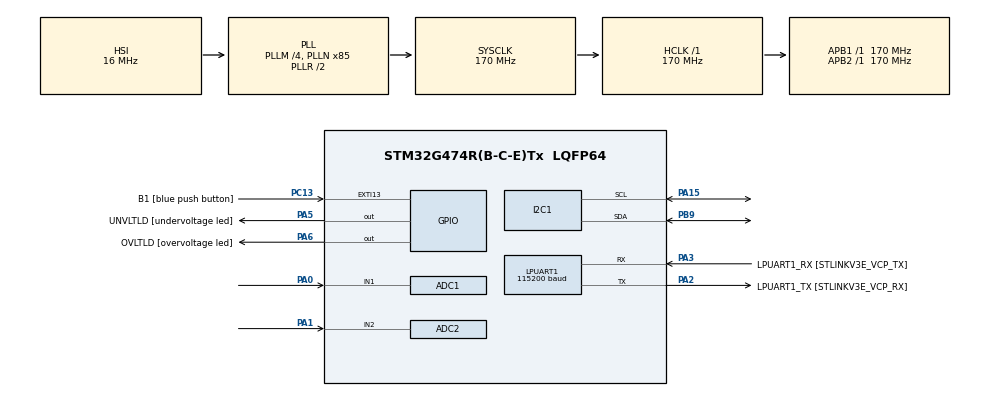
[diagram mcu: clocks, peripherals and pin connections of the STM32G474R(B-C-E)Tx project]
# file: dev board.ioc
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ADC1.Channel-0\#ChannelRegularConversion=ADC_CHANNEL_1
ADC1.NbrOfConversionFlag=1
ADC1.OffsetNumber-0\#ChannelRegularConversion=ADC_OFFSET_NONE
ADC1.Rank-0\#ChannelRegularConversion=1
ADC1.SamplingTime-0\#ChannelRegularConversion=ADC_SAMPLETIME_2CYCLES_5
ADC1.master=1
ADC2.Channel-0\#ChannelRegularConversion=ADC_CHANNEL_2
ADC2.NbrOfConversionFlag=1
ADC2.OffsetNumber-0\#ChannelRegularConversion=ADC_OFFSET_NONE
ADC2.Rank-0\#ChannelRegularConversion=1
ADC2.SamplingTime-0\#ChannelRegularConversion=ADC_SAMPLETIME_2CYCLES_5
I2C1.Timing=0x30A0A7FB
LPUART1.BaudRate=115200
LPUART1.WordLength=UART_WORDLENGTH_8B
Mcu.Family=STM32G4
Mcu.Name=STM32G474R(B-C-E)Tx
Mcu.Package=LQFP64
NVIC.EXTI15_10_IRQn=true\:0\:0\:false\:false\:true\:true\:true\:true
NVIC.PriorityGroup=NVIC_PRIORITYGROUP_4
NVIC.TIM3_IRQn=true\:0\:0\:false\:false\:true\:true\:true\:true
PA0.Mode=IN1-Single-Ended
PA0.Signal=ADC1_IN1
PA1.Mode=IN2-Single-Ended
PA1.Signal=ADC2_IN2
PA13.GPIO_Label=T_SWDIO
PA13.Mode=Serial_Wire
PA13.Signal=SYS_JTMS-SWDIO
PA14.GPIO_Label=T_SWCLK
PA14.Mode=Serial_Wire
PA14.Signal=SYS_JTCK-SWCLK
PA15.Mode=I2C
PA15.Signal=I2C1_SCL
PA2.GPIO_Label=LPUART1_TX [STLINKV3E_VCP_RX]
PA2.Mode=Asynchronous
PA2.Signal=LPUART1_TX
PA3.GPIO_Label=LPUART1_RX [STLINKV3E_VCP_TX]
PA3.Mode=Asynchronous
PA3.Signal=LPUART1_RX
PA5.GPIO_Label=UNVLTLD [undervoltage led]
PA5.Signal=GPIO_Output
PA6.GPIO_Label=OVLTLD [overvoltage led]
PA6.Signal=GPIO_Output
PB3.GPIO_Label=T_SWO
PB3.Signal=SYS_JTDO-SWO
PB9.Mode=I2C
PB9.Signal=I2C1_SDA
PC13.GPIO_Label=B1 [blue push button]
PC13.Signal=GPXTI13
PC14-OSC32_IN.Mode=LSE-External-Oscillator
PC14-OSC32_IN.Signal=RCC_OSC32_IN
PC15-OSC32_OUT.Mode=LSE-External-Oscillator
PC15-OSC32_OUT.Signal=RCC_OSC32_OUT
PF0-OSC_IN.Mode=HSE-External-Oscillator
PF0-OSC_IN.Signal=RCC_OSC_IN
PF1-OSC_OUT.Mode=HSE-External-Oscillator
PF1-OSC_OUT.Signal=RCC_OSC_OUT
ProjectManager.HeapSize=0x200
ProjectManager.StackSize=0x400
ProjectManager.TargetToolchain=Makefile
RCC.ADC12Freq_Value=170000000
RCC.ADC345Freq_Value=170000000
RCC.AHBFreq_Value=170000000
RCC.APB1Freq_Value=170000000
RCC.APB1TimFreq_Value=170000000
RCC.APB2Freq_Value=170000000
RCC.APB2TimFreq_Value=170000000
RCC.CortexFreq_Value=170000000
RCC.EXTERNAL_CLOCK_VALUE=12288000
RCC.HCLKFreq_Value=170000000
RCC.HSE_VALUE=24000000
RCC.HSI48_VALUE=48000000
RCC.HSI_VALUE=16000000
RCC.PLLM=RCC_PLLM_DIV4
RCC.PLLN=85
RCC.RTCClockSelection=RCC_RTCCLKSOURCE_LSE
RCC.SYSCLKFreq_VALUE=170000000
RCC.SYSCLKSource=RCC_SYSCLKSOURCE_PLLCLK
RCC.USBFreq_Value=170000000
RCC.VCOOutputFreq_Value=340000000
TIM3.PeriodNoDither=1000 - 1
TIM3.Prescaler=170 - 1
VP_SYS_VS_DBSignals.Mode=DisableDeadBatterySignals
VP_TIM3_VS_ClockSourceINT.Mode=Internal
board=NUCLEO-G474RE

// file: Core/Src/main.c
/* USER CODE BEGIN Header */
/**
  ******************************************************************************
  * @file           : main.c
  * @brief          : Main program body
  ******************************************************************************
  * @attention
  *
  * Copyright (c) 2022 STMicroelectronics.
  * All rights reserved.
  *
  * This software is licensed under terms that can be found in the LICENSE file
  * in the root directory of this software component.
  * If no LICENSE file comes with this software, it is provided AS-IS.
  *
  ******************************************************************************
  */
/* USER CODE END Header */
#include "main.h"

/* USER CODE BEGIN Includes */
#include "stdio.h"
/* USER CODE END Includes */

ADC_HandleTypeDef hadc1;
ADC_HandleTypeDef hadc2;

I2C_HandleTypeDef hi2c1;

UART_HandleTypeDef hlpuart1;

TIM_HandleTypeDef htim3;

/* USER CODE BEGIN PV */
uint16_t vTime;
uint16_t sTime;
uint16_t sensorReadTime = 200;
uint16_t voltageReadTime = 350;
uint8_t sensorTimerElapsed = 0;
uint8_t voltageTimerElapsed = 0;

enum state {INIT = 0U, RUNNING, DANGER, WAITING};
enum state state = INIT;
/* USER CODE END PV */

void SystemClock_Config(void);
static void MX_GPIO_Init(void);
static void MX_ADC1_Init(void);
static void MX_LPUART1_UART_Init(void);
static void MX_TIM3_Init(void);
static void MX_I2C1_Init(void);
static void MX_ADC2_Init(void);
/* USER CODE BEGIN PFP */

void startTimers(void);
void resetLeds(void);
void uartPrint(char *string);
void checkVltg(void);
/* USER CODE END PFP */

int main(void)
{

  /* MCU Configuration--------------------------------------------------------*/

  /* Reset of all peripherals, Initializes the Flash interface and the Systick. */
  HAL_Init();

  /* USER CODE BEGIN Init */
  char buffer[40];
  /* USER CODE END Init */

  /* Configure the system clock */
  SystemClock_Config();

  /* Initialize all configured peripherals */
  MX_GPIO_Init();
  MX_ADC1_Init();
  MX_LPUART1_UART_Init();
  MX_TIM3_Init();
  MX_I2C1_Init();
  MX_ADC2_Init();

  /* Infinite loop */
  /* USER CODE BEGIN WHILE */
  HAL_UART_Transmit(&hlpuart1, "\r\n", sizeof("\r\n"), 100);
  while (1)
  {
    switch (state)
    {
    case INIT:
      vTime = 0;
      sTime = 0;
      initUart(&hlpuart1);
      initSysVlt(&hadc1);
      initSensor(&hadc2);
      HAL_TIM_Base_Start_IT(&htim3);
      state = RUNNING;
      break;

    case DANGER:
      if(sysVoltage.voltage > sysVoltage.upperThld)
      {
        HAL_GPIO_WritePin(OVLTLD_GPIO_Port,OVLTLD_Pin, GPIO_PIN_SET);
        HAL_GPIO_WritePin(UNVLTLD_GPIO_Port, UNVLTLD_Pin, GPIO_PIN_RESET);
      }
      else
      {
        HAL_GPIO_WritePin(UNVLTLD_GPIO_Port, UNVLTLD_Pin, GPIO_PIN_SET);
        HAL_GPIO_WritePin(OVLTLD_GPIO_Port,OVLTLD_Pin, GPIO_PIN_RESET);
      }
    case RUNNING:
      if(sensorTimerElapsed == 1)
      {
        sensorTimerElapsed = 0;
        readLight();
        sprintf(buffer, "(%lu) Sensor light percentage: %d\n\r", HAL_GetTick() / 10, sensorLight);
        //HAL_UART_Transmit(&hlpuart1, buffer, 27, 10);
        uartPrint(buffer);
      }

      if(voltageTimerElapsed == 1)
      {
        voltageTimerElapsed = 0;
        readSysVlt();
        sprintf(buffer, "(%lu) Sys volt time:\n\r", HAL_GetTick() / 10);
        uartPrint(buffer);
        checkVltg();
      }
      break;

    case WAITING:
        resetLeds();
        uartPrint("Board in waiting state - please press the emergency button\n\r");
        HAL_Delay(500);
      break;

    default:
      break;
    }
    /* USER CODE END WHILE */

  }
}

void SystemClock_Config(void)
{
  RCC_OscInitTypeDef RCC_OscInitStruct = {0};
  RCC_ClkInitTypeDef RCC_ClkInitStruct = {0};

  /** Configure the main internal regulator output voltage
  */
  HAL_PWREx_ControlVoltageScaling(PWR_REGULATOR_VOLTAGE_SCALE1_BOOST);

  /** Initializes the RCC Oscillators according to the specified parameters
  * in the RCC_OscInitTypeDef structure.
  */
  RCC_OscInitStruct.OscillatorType = RCC_OSCILLATORTYPE_HSI;
  RCC_OscInitStruct.HSIState = RCC_HSI_ON;
  RCC_OscInitStruct.HSICalibrationValue = RCC_HSICALIBRATION_DEFAULT;
  RCC_OscInitStruct.PLL.PLLState = RCC_PLL_ON;
  RCC_OscInitStruct.PLL.PLLSource = RCC_PLLSOURCE_HSI;
  RCC_OscInitStruct.PLL.PLLM = RCC_PLLM_DIV4;
  RCC_OscInitStruct.PLL.PLLN = 85;
  RCC_OscInitStruct.PLL.PLLP = RCC_PLLP_DIV2;
  RCC_OscInitStruct.PLL.PLLQ = RCC_PLLQ_DIV2;
  RCC_OscInitStruct.PLL.PLLR = RCC_PLLR_DIV2;
  if (HAL_RCC_OscConfig(&RCC_OscInitStruct) != HAL_OK)
  {
    Error_Handler();
  }

  /** Initializes the CPU, AHB and APB buses clocks
  */
  RCC_ClkInitStruct.ClockType = RCC_CLOCKTYPE_HCLK|RCC_CLOCKTYPE_SYSCLK
                              |RCC_CLOCKTYPE_PCLK1|RCC_CLOCKTYPE_PCLK2;
  RCC_ClkInitStruct.SYSCLKSource = RCC_SYSCLKSOURCE_PLLCLK;
  RCC_ClkInitStruct.AHBCLKDivider = RCC_SYSCLK_DIV1;
  RCC_ClkInitStruct.APB1CLKDivider = RCC_HCLK_DIV1;
  RCC_ClkInitStruct.APB2CLKDivider = RCC_HCLK_DIV1;

  if (HAL_RCC_ClockConfig(&RCC_ClkInitStruct, FLASH_LATENCY_4) != HAL_OK)
  {
    Error_Handler();
  }
}

static void MX_ADC1_Init(void)
{

  ADC_MultiModeTypeDef multimode = {0};
  ADC_ChannelConfTypeDef sConfig = {0};

  /** Common config
  */
  hadc1.Instance = ADC1;
  hadc1.Init.ClockPrescaler = ADC_CLOCK_SYNC_PCLK_DIV4;
  hadc1.Init.Resolution = ADC_RESOLUTION_12B;
  hadc1.Init.DataAlign = ADC_DATAALIGN_RIGHT;
  hadc1.Init.GainCompensation = 0;
  hadc1.Init.ScanConvMode = ADC_SCAN_DISABLE;
  hadc1.Init.EOCSelection = ADC_EOC_SINGLE_CONV;
  hadc1.Init.LowPowerAutoWait = DISABLE;
  hadc1.Init.ContinuousConvMode = DISABLE;
  hadc1.Init.NbrOfConversion = 1;
  hadc1.Init.DiscontinuousConvMode = DISABLE;
  hadc1.Init.ExternalTrigConv = ADC_SOFTWARE_START;
  hadc1.Init.ExternalTrigConvEdge = ADC_EXTERNALTRIGCONVEDGE_NONE;
  hadc1.Init.DMAContinuousRequests = DISABLE;
  hadc1.Init.Overrun = ADC_OVR_DATA_PRESERVED;
  hadc1.Init.OversamplingMode = DISABLE;
  if (HAL_ADC_Init(&hadc1) != HAL_OK)
  {
    Error_Handler();
  }

  /** Configure the ADC multi-mode
  */
  multimode.Mode = ADC_MODE_INDEPENDENT;
  if (HAL_ADCEx_MultiModeConfigChannel(&hadc1, &multimode) != HAL_OK)
  {
    Error_Handler();
  }

  /** Configure Regular Channel
  */
  sConfig.Channel = ADC_CHANNEL_1;
  sConfig.Rank = ADC_REGULAR_RANK_1;
  sConfig.SamplingTime = ADC_SAMPLETIME_2CYCLES_5;
  sConfig.SingleDiff = ADC_SINGLE_ENDED;
  sConfig.OffsetNumber = ADC_OFFSET_NONE;
  sConfig.Offset = 0;
  if (HAL_ADC_ConfigChannel(&hadc1, &sConfig) != HAL_OK)
  {
    Error_Handler();
  }

}

static void MX_ADC2_Init(void)
{

  ADC_ChannelConfTypeDef sConfig = {0};

  /** Common config
  */
  hadc2.Instance = ADC2;
  hadc2.Init.ClockPrescaler = ADC_CLOCK_SYNC_PCLK_DIV4;
  hadc2.Init.Resolution = ADC_RESOLUTION_12B;
  hadc2.Init.DataAlign = ADC_DATAALIGN_RIGHT;
  hadc2.Init.GainCompensation = 0;
  hadc2.Init.ScanConvMode = ADC_SCAN_DISABLE;
  hadc2.Init.EOCSelection = ADC_EOC_SINGLE_CONV;
  hadc2.Init.LowPowerAutoWait = DISABLE;
  hadc2.Init.ContinuousConvMode = DISABLE;
  hadc2.Init.NbrOfConversion = 1;
  hadc2.Init.DiscontinuousConvMode = DISABLE;
  hadc2.Init.ExternalTrigConv = ADC_SOFTWARE_START;
  hadc2.Init.ExternalTrigConvEdge = ADC_EXTERNALTRIGCONVEDGE_NONE;
  hadc2.Init.DMAContinuousRequests = DISABLE;
  hadc2.Init.Overrun = ADC_OVR_DATA_PRESERVED;
  hadc2.Init.OversamplingMode = DISABLE;
  if (HAL_ADC_Init(&hadc2) != HAL_OK)
  {
    Error_Handler();
  }

  /** Configure Regular Channel
  */
  sConfig.Channel = ADC_CHANNEL_2;
  sConfig.Rank = ADC_REGULAR_RANK_1;
  sConfig.SamplingTime = ADC_SAMPLETIME_2CYCLES_5;
  sConfig.SingleDiff = ADC_SINGLE_ENDED;
  sConfig.OffsetNumber = ADC_OFFSET_NONE;
  sConfig.Offset = 0;
  if (HAL_ADC_ConfigChannel(&hadc2, &sConfig) != HAL_OK)
  {
    Error_Handler();
  }

}

static void MX_I2C1_Init(void)
{

  hi2c1.Instance = I2C1;
  hi2c1.Init.Timing = 0x30A0A7FB;
  hi2c1.Init.OwnAddress1 = 0;
  hi2c1.Init.AddressingMode = I2C_ADDRESSINGMODE_7BIT;
  hi2c1.Init.DualAddressMode = I2C_DUALADDRESS_DISABLE;
  hi2c1.Init.OwnAddress2 = 0;
  hi2c1.Init.OwnAddress2Masks = I2C_OA2_NOMASK;
  hi2c1.Init.GeneralCallMode = I2C_GENERALCALL_DISABLE;
  hi2c1.Init.NoStretchMode = I2C_NOSTRETCH_DISABLE;
  if (HAL_I2C_Init(&hi2c1) != HAL_OK)
  {
    Error_Handler();
  }

  /** Configure Analogue filter
  */
  if (HAL_I2CEx_ConfigAnalogFilter(&hi2c1, I2C_ANALOGFILTER_ENABLE) != HAL_OK)
  {
    Error_Handler();
  }

  /** Configure Digital filter
  */
  if (HAL_I2CEx_ConfigDigitalFilter(&hi2c1, 0) != HAL_OK)
  {
    Error_Handler();
  }

}

static void MX_LPUART1_UART_Init(void)
{

  hlpuart1.Instance = LPUART1;
  hlpuart1.Init.BaudRate = 115200;
  hlpuart1.Init.WordLength = UART_WORDLENGTH_8B;
  hlpuart1.Init.StopBits = UART_STOPBITS_1;
  hlpuart1.Init.Parity = UART_PARITY_NONE;
  hlpuart1.Init.Mode = UART_MODE_TX_RX;
  hlpuart1.Init.HwFlowCtl = UART_HWCONTROL_NONE;
  hlpuart1.Init.OneBitSampling = UART_ONE_BIT_SAMPLE_DISABLE;
  hlpuart1.Init.ClockPrescaler = UART_PRESCALER_DIV1;
  hlpuart1.AdvancedInit.AdvFeatureInit = UART_ADVFEATURE_NO_INIT;
  if (HAL_UART_Init(&hlpuart1) != HAL_OK)
  {
    Error_Handler();
  }
  if (HAL_UARTEx_SetTxFifoThreshold(&hlpuart1, UART_TXFIFO_THRESHOLD_1_8) != HAL_OK)
  {
    Error_Handler();
  }
  if (HAL_UARTEx_SetRxFifoThreshold(&hlpuart1, UART_RXFIFO_THRESHOLD_1_8) != HAL_OK)
  {
    Error_Handler();
  }
  if (HAL_UARTEx_DisableFifoMode(&hlpuart1) != HAL_OK)
  {
    Error_Handler();
  }

}

static void MX_TIM3_Init(void)
{

  TIM_ClockConfigTypeDef sClockSourceConfig = {0};
  TIM_MasterConfigTypeDef sMasterConfig = {0};

  htim3.Instance = TIM3;
  htim3.Init.Prescaler = 170 - 1;
  htim3.Init.CounterMode = TIM_COUNTERMODE_UP;
  htim3.Init.Period = 999;
  htim3.Init.ClockDivision = TIM_CLOCKDIVISION_DIV1;
  htim3.Init.AutoReloadPreload = TIM_AUTORELOAD_PRELOAD_DISABLE;
  if (HAL_TIM_Base_Init(&htim3) != HAL_OK)
  {
    Error_Handler();
  }
  sClockSourceConfig.ClockSource = TIM_CLOCKSOURCE_INTERNAL;
  if (HAL_TIM_ConfigClockSource(&htim3, &sClockSourceConfig) != HAL_OK)
  {
    Error_Handler();
  }
  sMasterConfig.MasterOutputTrigger = TIM_TRGO_RESET;
  sMasterConfig.MasterSlaveMode = TIM_MASTERSLAVEMODE_DISABLE;
  if (HAL_TIMEx_MasterConfigSynchronization(&htim3, &sMasterConfig) != HAL_OK)
  {
    Error_Handler();
  }

}

static void MX_GPIO_Init(void)
{
  GPIO_InitTypeDef GPIO_InitStruct = {0};

  /* GPIO Ports Clock Enable */
  __HAL_RCC_GPIOC_CLK_ENABLE();
  __HAL_RCC_GPIOF_CLK_ENABLE();
  __HAL_RCC_GPIOA_CLK_ENABLE();
  __HAL_RCC_GPIOB_CLK_ENABLE();

  /*Configure GPIO pin Output Level */
  HAL_GPIO_WritePin(GPIOA, UNVLTLD_Pin|OVLTLD_Pin, GPIO_PIN_RESET);

  /*Configure GPIO pin : B1_Pin */
  GPIO_InitStruct.Pin = B1_Pin;
  GPIO_InitStruct.Mode = GPIO_MODE_IT_RISING;
  GPIO_InitStruct.Pull = GPIO_NOPULL;
  HAL_GPIO_Init(B1_GPIO_Port, &GPIO_InitStruct);

  /*Configure GPIO pins : UNVLTLD_Pin OVLTLD_Pin */
  GPIO_InitStruct.Pin = UNVLTLD_Pin|OVLTLD_Pin;
  GPIO_InitStruct.Mode = GPIO_MODE_OUTPUT_PP;
  GPIO_InitStruct.Pull = GPIO_NOPULL;
  GPIO_InitStruct.Speed = GPIO_SPEED_FREQ_LOW;
  HAL_GPIO_Init(GPIOA, &GPIO_InitStruct);

  /* EXTI interrupt init*/
  HAL_NVIC_SetPriority(EXTI15_10_IRQn, 0, 0);
  HAL_NVIC_EnableIRQ(EXTI15_10_IRQn);

}

/* USER CODE BEGIN 4 */

void HAL_TIM_PeriodElapsedCallback(TIM_HandleTypeDef *htim)
{
  if(htim == &htim3)
  {

    if(sTime == sensorReadTime)
    {
      sensorTimerElapsed = 1;
      sTime = 0;
    }
    if(vTime == voltageReadTime)
    {
      voltageTimerElapsed = 1;
      vTime = 0;
    }
    sTime++;
    vTime++;
  }
}

void HAL_GPIO_EXTI_Callback(uint16_t GPIO_Pin)
{
  if(state != WAITING)
  {
    state = WAITING;
    HAL_TIM_Base_Stop_IT(&htim3);
    vTime = 0xffff;
    sTime = 0xffff;
  }
  else
  {
    state = RUNNING;
    HAL_TIM_Base_Start_IT(&htim3);
    vTime = 0;
    sTime = 0;
  }
}

void resetLeds(void)
{
  HAL_GPIO_WritePin(UNVLTLD_GPIO_Port, UNVLTLD_Pin, GPIO_PIN_RESET);
  HAL_GPIO_WritePin(OVLTLD_GPIO_Port,OVLTLD_Pin, GPIO_PIN_RESET);
}

void checkVltg(void)
{
  char buffer[100];
  sprintf(buffer, "(%lu) System voltage: %.2f\n\r", HAL_GetTick()/10,sysVoltage.voltage);
  uartPrint(buffer);
  if(sysVoltage.voltage > sysVoltage.lowerThld && sysVoltage.voltage < sysVoltage.upperThld)
  {
    if(state == DANGER)
    {
      resetLeds();
      state = RUNNING;
    }
  }
  else
  {
    state = DANGER;

    sprintf(buffer, "Error voltage out of bound\n\rminimun voltage value is: %.2f,\n\rmaximum voltage value is: %.2f\n\r", sysVoltage.lowerThld,sysVoltage.upperThld);
    uartPrint(buffer);
  }
}
/* USER CODE END 4 */

void Error_Handler(void)
{
  __disable_irq();
  while (1)
  {
  }
}
